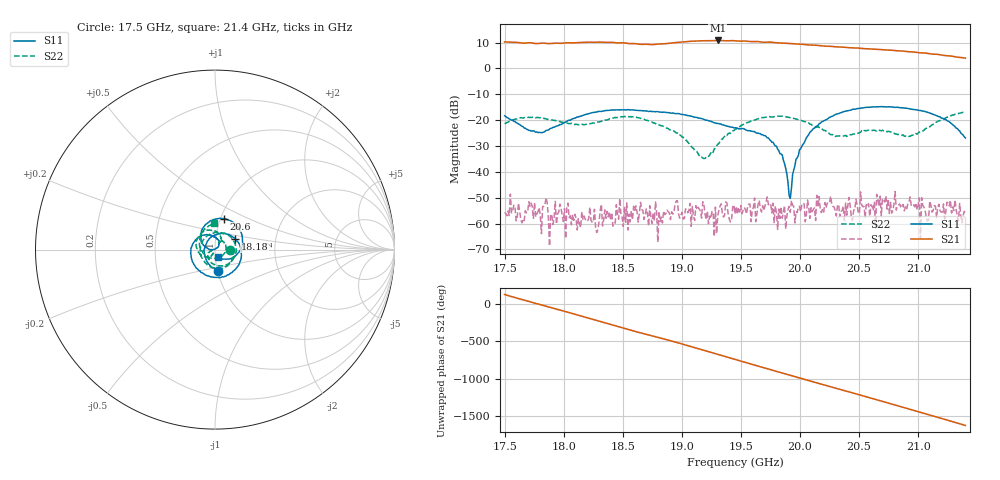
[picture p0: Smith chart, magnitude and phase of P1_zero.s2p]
!Created with skrf (http://scikit-rf.org).
# GHz S RI R 50.0
!freq ReS11 ImS11 ReS21 ImS21 ReS12 ImS12 ReS22 ImS22
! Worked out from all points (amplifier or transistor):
!   401 points, 17.5 GHz to 21.4 GHz, reference 50 ohm
!   highest |S21| = 10.8 dB at 19.3 GHz (marker M1)
!   |S21| within 3 dB of that: start of sweep to 20.5 GHz
!   unconditionally stable (mu >= 1): start of sweep to end of sweep
!   at 18.14 GHz: K = 184.45, MAG = 10.1 dB, |S12| = -61.6 dB
!   at 19.45 GHz: K = 93.15, MAG = 10.8 dB, |S12| = -56.2 dB
!   at 21.4 GHz: K = 191.26, MAG = 4.1 dB, |S12| = -55.9 dB
!   S11 on the Smith chart (normalised r, x): 17.5 GHz: 1.01, -0.25; 18.18 GHz: 1.25, +0.15; 20.6 GHz: 1.04, +0.37; 21.4 GHz: 1.03, -0.09
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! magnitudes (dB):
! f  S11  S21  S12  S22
! 17.5 GHz  -18.3  10.3  -55.6  -21.3
! 17.8 GHz  -24.8  9.7  -57.2  -19.0
! 17.84 GHz  -24.4  9.8  -52.8  -19.4
! 17.89 GHz  -23.1  9.7  -56.4  -19.8
! 17.97 GHz  -21.7  9.7  -52.4  -20.5
! 18.15 GHz  -18.3  10.1  -55.4  -21.6
! 18.18 GHz  -17.8  10.1  -58.4  -21.6
! 18.59 GHz  -16.1  9.6  -53.3  -18.7
! 18.81 GHz  -16.8  9.5  -55.3  -21.8
! 18.94 GHz  -17.4  10.0  -52.4  -24.6
! 19 GHz  -17.8  10.3  -55.6  -26.5
! 19.18 GHz  -19.5  10.7  -51.5  -34.6
! 19.3 GHz  -21.3  10.8  -57.1  -29.3
! 19.45 GHz  -22.9  10.7  -56.2  -23.6
! 19.78 GHz  -29.3  10.0  -59.6  -18.7
! 19.92 GHz  -50.3  9.7  -55.6  -19.0
! 19.99 GHz  -33.7  9.4  -53.5  -19.8
! 20.1 GHz  -23.9  9.0  -55.4  -22.0
! 20.6 GHz  -14.9  7.5  -52.8  -24.0
! 20.76 GHz  -14.8  7.1  -56.1  -24.4
! 21.17 GHz  -18.4  5.5  -53.8  -20.4
! 21.4 GHz  -26.9  4.0  -55.9  -16.7
